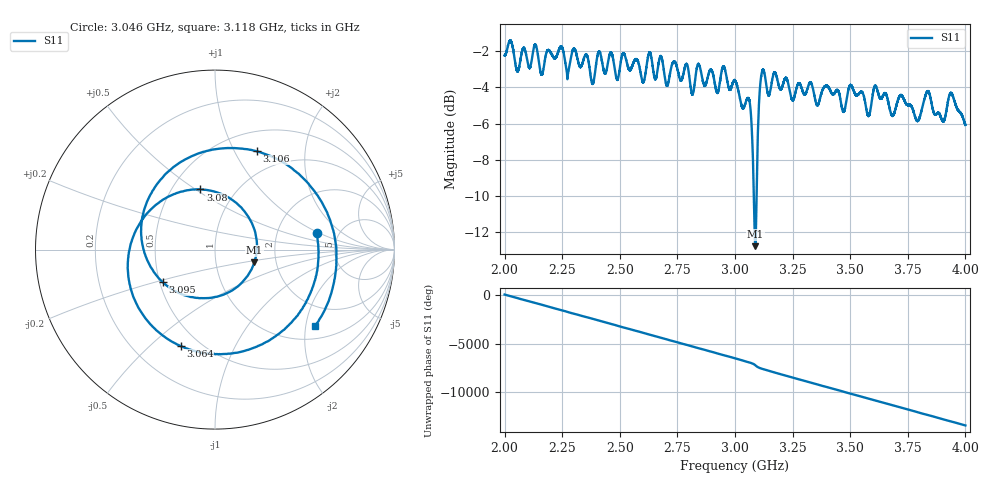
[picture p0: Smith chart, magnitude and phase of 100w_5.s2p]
!Agilent Technologies,E8362B,MY43021131,A.07.50.67
!Agilent E8362B: A.07.50.67
!Date: Thursday, March 14, 2024 14:22:24
!Correction: S11(Off)
!S21(Off)
!S12(Off)
!S22(Off)
!S2P File: Measurements: S11, S21, S12, S22:
# Hz S  RI  R 50
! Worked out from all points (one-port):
!   20001 points, 2 GHz to 4 GHz, reference 50 ohm
!   lowest |S11| = -12.8 dB at 3.088 GHz (marker M1), VSWR 1.60, Z = 76.9 - j11.5 ohm
!   |S11| at or under -10 dB: 3.081857 GHz to 3.093552 GHz (11.7 MHz wide, 0.379 % of centre)
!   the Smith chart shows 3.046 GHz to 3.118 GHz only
!   S11 on the Smith chart (normalised r, x): 3.046 GHz: 3.41, +0.92; 3.064 GHz: 0.39, -0.63; 3.08 GHz: 0.69, +0.52; 3.095 GHz: 0.52, -0.21; 3.106 GHz: 0.73, +1.23; 3.118 GHz: 1.33, -2.25
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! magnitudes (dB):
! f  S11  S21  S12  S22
! 2 GHz  -2.2  -  -  -
! 2.333 GHz  -2.8  -  -  -
! 2.667 GHz  -2.8  -  -  -
! 2.789 GHz  -2.7  -  -  -
! 2.815 GHz  -4.4  -  -  -
! 2.841 GHz  -2.7  -  -  -
! 3 GHz  -3.6  -  -  -
! 3.046 GHz  -4.8  -  -  -
! 3.064 GHz  -4.9  -  -  -
! 3.08 GHz  -9.2  -  -  -
! 3.088 GHz  -12.8  -  -  -
! 3.095 GHz  -9.3  -  -  -
! 3.106 GHz  -4.5  -  -  -
! 3.118 GHz  -3.1  -  -  -
! 3.25 GHz  -4.7  -  -  -
! 3.333 GHz  -3.9  -  -  -
! 3.667 GHz  -4.9  -  -  -
! 3.793 GHz  -5.9  -  -  -
! 3.837 GHz  -4.2  -  -  -
! 3.903 GHz  -5.9  -  -  -
! 3.938 GHz  -4.3  -  -  -
! 4 GHz  -6.1  -  -  -
